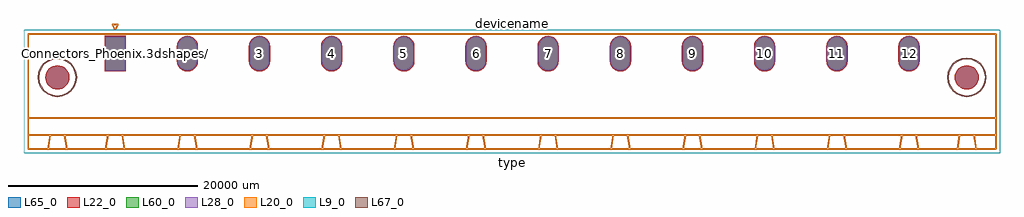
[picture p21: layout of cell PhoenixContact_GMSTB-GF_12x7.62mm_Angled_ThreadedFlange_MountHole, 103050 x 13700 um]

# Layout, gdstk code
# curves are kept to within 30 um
import gdstk
lib = gdstk.Library(unit=1e-6, precision=1e-09)
def R(c, l, rs):  # rectangles x0, y0, x1, y1
    for r in rs: c.add(gdstk.rectangle(r[:2], r[2:], *l))
def P(c, l, *ps):  # polygons
    for p in ps: c.add(gdstk.Polygon(p, *l))
L9_0 = (9, 0)
L20_0 = (20, 0)
L22_0 = (22, 0)
L28_0 = (28, 0)
L60_0 = (60, 0)
L65_0 = (65, 0)
L67_0 = (67, 0)

phoenixcontact_gmstb_gf_ = lib.new_cell('PhoenixContact_GMSTB-GF_12x7.62mm_Angled_ThreadedFlange_MountHole')
R(phoenixcontact_gmstb_gf_, L22_0, [(-1125,-1875,1125,1875)])
P(phoenixcontact_gmstb_gf_, L22_0, [(91195,-2500),(91097.946,-2012.079),(90821.561,-1598.439),(90407.921,-1322.054),(89920,-1225),(89432.079,-1322.054),(89018.439,-1598.439),(88742.054,-2012.079),(88645,-2500),(88742.054,-2987.921),(89018.439,-3401.561),(89432.079,-3677.946),(89920,-3775),(90407.921,-3677.946),(90821.561,-3401.561),(91097.946,-2987.921)],
  [(-4825,-2500),(-4922.054,-2012.079),(-5198.439,-1598.439),(-5612.079,-1322.054),(-6100,-1225),(-6587.921,-1322.054),(-7001.561,-1598.439),(-7277.946,-2012.079),(-7375,-2500),(-7277.946,-2987.921),(-7001.561,-3401.561),(-6587.921,-3677.946),(-6100,-3775),(-5612.079,-3677.946),(-5198.439,-3401.561),(-4922.054,-2987.921)],
  [(83820,-1875),(84111.171,-1836.667),(84382.5,-1724.279),(84615.495,-1545.495),(84794.279,-1312.5),(84906.667,-1041.171),(84945,-750),(84945,750),(84906.667,1041.171),(84794.279,1312.5),(84615.495,1545.495),(84382.5,1724.279),(84111.171,1836.667),(83820,1875),(83528.829,1836.667),(83257.5,1724.279),(83024.505,1545.495),(82845.721,1312.5),(82733.333,1041.171),(82695,750),(82695,-750),(82733.333,-1041.171),(82845.721,-1312.5),(83024.505,-1545.495),(83257.5,-1724.279),(83528.829,-1836.667)],
  [(76200,-1875),(76491.171,-1836.667),(76762.5,-1724.279),(76995.495,-1545.495),(77174.279,-1312.5),(77286.667,-1041.171),(77325,-750),(77325,750),(77286.667,1041.171),(77174.279,1312.5),(76995.495,1545.495),(76762.5,1724.279),(76491.171,1836.667),(76200,1875),(75908.829,1836.667),(75637.5,1724.279),(75404.505,1545.495),(75225.721,1312.5),(75113.333,1041.171),(75075,750),(75075,-750),(75113.333,-1041.171),(75225.721,-1312.5),(75404.505,-1545.495),(75637.5,-1724.279),(75908.829,-1836.667)],
  [(68580,-1875),(68871.171,-1836.667),(69142.5,-1724.279),(69375.495,-1545.495),(69554.279,-1312.5),(69666.667,-1041.171),(69705,-750),(69705,750),(69666.667,1041.171),(69554.279,1312.5),(69375.495,1545.495),(69142.5,1724.279),(68871.171,1836.667),(68580,1875),(68288.829,1836.667),(68017.5,1724.279),(67784.505,1545.495),(67605.721,1312.5),(67493.333,1041.171),(67455,750),(67455,-750),(67493.333,-1041.171),(67605.721,-1312.5),(67784.505,-1545.495),(68017.5,-1724.279),(68288.829,-1836.667)],
  [(60960,-1875),(61251.171,-1836.667),(61522.5,-1724.279),(61755.495,-1545.495),(61934.279,-1312.5),(62046.667,-1041.171),(62085,-750),(62085,750),(62046.667,1041.171),(61934.279,1312.5),(61755.495,1545.495),(61522.5,1724.279),(61251.171,1836.667),(60960,1875),(60668.829,1836.667),(60397.5,1724.279),(60164.505,1545.495),(59985.721,1312.5),(59873.333,1041.171),(59835,750),(59835,-750),(59873.333,-1041.171),(59985.721,-1312.5),(60164.505,-1545.495),(60397.5,-1724.279),(60668.829,-1836.667)],
  [(53340,-1875),(53631.171,-1836.667),(53902.5,-1724.279),(54135.495,-1545.495),(54314.279,-1312.5),(54426.667,-1041.171),(54465,-750),(54465,750),(54426.667,1041.171),(54314.279,1312.5),(54135.495,1545.495),(53902.5,1724.279),(53631.171,1836.667),(53340,1875),(53048.829,1836.667),(52777.5,1724.279),(52544.505,1545.495),(52365.721,1312.5),(52253.333,1041.171),(52215,750),(52215,-750),(52253.333,-1041.171),(52365.721,-1312.5),(52544.505,-1545.495),(52777.5,-1724.279),(53048.829,-1836.667)],
  [(45720,-1875),(46011.171,-1836.667),(46282.5,-1724.279),(46515.495,-1545.495),(46694.279,-1312.5),(46806.667,-1041.171),(46845,-750),(46845,750),(46806.667,1041.171),(46694.279,1312.5),(46515.495,1545.495),(46282.5,1724.279),(46011.171,1836.667),(45720,1875),(45428.829,1836.667),(45157.5,1724.279),(44924.505,1545.495),(44745.721,1312.5),(44633.333,1041.171),(44595,750),(44595,-750),(44633.333,-1041.171),(44745.721,-1312.5),(44924.505,-1545.495),(45157.5,-1724.279),(45428.829,-1836.667)],
  [(38100,-1875),(38391.171,-1836.667),(38662.5,-1724.279),(38895.495,-1545.495),(39074.279,-1312.5),(39186.667,-1041.171),(39225,-750),(39225,750),(39186.667,1041.171),(39074.279,1312.5),(38895.495,1545.495),(38662.5,1724.279),(38391.171,1836.667),(38100,1875),(37808.829,1836.667),(37537.5,1724.279),(37304.505,1545.495),(37125.721,1312.5),(37013.333,1041.171),(36975,750),(36975,-750),(37013.333,-1041.171),(37125.721,-1312.5),(37304.505,-1545.495),(37537.5,-1724.279),(37808.829,-1836.667)],
  [(30480,-1875),(30771.171,-1836.667),(31042.5,-1724.279),(31275.495,-1545.495),(31454.279,-1312.5),(31566.667,-1041.171),(31605,-750),(31605,750),(31566.667,1041.171),(31454.279,1312.5),(31275.495,1545.495),(31042.5,1724.279),(30771.171,1836.667),(30480,1875),(30188.829,1836.667),(29917.5,1724.279),(29684.505,1545.495),(29505.721,1312.5),(29393.333,1041.171),(29355,750),(29355,-750),(29393.333,-1041.171),(29505.721,-1312.5),(29684.505,-1545.495),(29917.5,-1724.279),(30188.829,-1836.667)],
  [(22860,-1875),(23151.171,-1836.667),(23422.5,-1724.279),(23655.495,-1545.495),(23834.279,-1312.5),(23946.667,-1041.171),(23985,-750),(23985,750),(23946.667,1041.171),(23834.279,1312.5),(23655.495,1545.495),(23422.5,1724.279),(23151.171,1836.667),(22860,1875),(22568.829,1836.667),(22297.5,1724.279),(22064.505,1545.495),(21885.721,1312.5),(21773.333,1041.171),(21735,750),(21735,-750),(21773.333,-1041.171),(21885.721,-1312.5),(22064.505,-1545.495),(22297.5,-1724.279),(22568.829,-1836.667)],
  [(15240,-1875),(15531.171,-1836.667),(15802.5,-1724.279),(16035.495,-1545.495),(16214.279,-1312.5),(16326.667,-1041.171),(16365,-750),(16365,750),(16326.667,1041.171),(16214.279,1312.5),(16035.495,1545.495),(15802.5,1724.279),(15531.171,1836.667),(15240,1875),(14948.829,1836.667),(14677.5,1724.279),(14444.505,1545.495),(14265.721,1312.5),(14153.333,1041.171),(14115,750),(14115,-750),(14153.333,-1041.171),(14265.721,-1312.5),(14444.505,-1545.495),(14677.5,-1724.279),(14948.829,-1836.667)],
  [(7620,-1875),(7911.171,-1836.667),(8182.5,-1724.279),(8415.495,-1545.495),(8594.279,-1312.5),(8706.667,-1041.171),(8745,-750),(8745,750),(8706.667,1041.171),(8594.279,1312.5),(8415.495,1545.495),(8182.5,1724.279),(7911.171,1836.667),(7620,1875),(7328.829,1836.667),(7057.5,1724.279),(6824.505,1545.495),(6645.721,1312.5),(6533.333,1041.171),(6495,750),(6495,-750),(6533.333,-1041.171),(6645.721,-1312.5),(6824.505,-1545.495),(7057.5,-1724.279),(7328.829,-1836.667)])
R(phoenixcontact_gmstb_gf_, L28_0, [(-1050,-1800,1050,1800)])
P(phoenixcontact_gmstb_gf_, L28_0, [(83820,-1800),(84091.76,-1764.222),(84345,-1659.327),(84562.462,-1492.462),(84729.327,-1275),(84834.222,-1021.76),(84870,-750),(84870,750),(84834.222,1021.76),(84729.327,1275),(84562.462,1492.462),(84345,1659.327),(84091.76,1764.222),(83820,1800),(83548.24,1764.222),(83295,1659.327),(83077.538,1492.462),(82910.673,1275),(82805.778,1021.76),(82770,750),(82770,-750),(82805.778,-1021.76),(82910.673,-1275),(83077.538,-1492.462),(83295,-1659.327),(83548.24,-1764.222)],
  [(76200,-1800),(76471.76,-1764.222),(76725,-1659.327),(76942.462,-1492.462),(77109.327,-1275),(77214.222,-1021.76),(77250,-750),(77250,750),(77214.222,1021.76),(77109.327,1275),(76942.462,1492.462),(76725,1659.327),(76471.76,1764.222),(76200,1800),(75928.24,1764.222),(75675,1659.327),(75457.538,1492.462),(75290.673,1275),(75185.778,1021.76),(75150,750),(75150,-750),(75185.778,-1021.76),(75290.673,-1275),(75457.538,-1492.462),(75675,-1659.327),(75928.24,-1764.222)],
  [(68580,-1800),(68851.76,-1764.222),(69105,-1659.327),(69322.462,-1492.462),(69489.327,-1275),(69594.222,-1021.76),(69630,-750),(69630,750),(69594.222,1021.76),(69489.327,1275),(69322.462,1492.462),(69105,1659.327),(68851.76,1764.222),(68580,1800),(68308.24,1764.222),(68055,1659.327),(67837.538,1492.462),(67670.673,1275),(67565.778,1021.76),(67530,750),(67530,-750),(67565.778,-1021.76),(67670.673,-1275),(67837.538,-1492.462),(68055,-1659.327),(68308.24,-1764.222)],
  [(60960,-1800),(61231.76,-1764.222),(61485,-1659.327),(61702.462,-1492.462),(61869.327,-1275),(61974.222,-1021.76),(62010,-750),(62010,750),(61974.222,1021.76),(61869.327,1275),(61702.462,1492.462),(61485,1659.327),(61231.76,1764.222),(60960,1800),(60688.24,1764.222),(60435,1659.327),(60217.538,1492.462),(60050.673,1275),(59945.778,1021.76),(59910,750),(59910,-750),(59945.778,-1021.76),(60050.673,-1275),(60217.538,-1492.462),(60435,-1659.327),(60688.24,-1764.222)],
  [(53340,-1800),(53611.76,-1764.222),(53865,-1659.327),(54082.462,-1492.462),(54249.327,-1275),(54354.222,-1021.76),(54390,-750),(54390,750),(54354.222,1021.76),(54249.327,1275),(54082.462,1492.462),(53865,1659.327),(53611.76,1764.222),(53340,1800),(53068.24,1764.222),(52815,1659.327),(52597.538,1492.462),(52430.673,1275),(52325.778,1021.76),(52290,750),(52290,-750),(52325.778,-1021.76),(52430.673,-1275),(52597.538,-1492.462),(52815,-1659.327),(53068.24,-1764.222)],
  [(45720,-1800),(45991.76,-1764.222),(46245,-1659.327),(46462.462,-1492.462),(46629.327,-1275),(46734.222,-1021.76),(46770,-750),(46770,750),(46734.222,1021.76),(46629.327,1275),(46462.462,1492.462),(46245,1659.327),(45991.76,1764.222),(45720,1800),(45448.24,1764.222),(45195,1659.327),(44977.538,1492.462),(44810.673,1275),(44705.778,1021.76),(44670,750),(44670,-750),(44705.778,-1021.76),(44810.673,-1275),(44977.538,-1492.462),(45195,-1659.327),(45448.24,-1764.222)],
  [(38100,-1800),(38371.76,-1764.222),(38625,-1659.327),(38842.462,-1492.462),(39009.327,-1275),(39114.222,-1021.76),(39150,-750),(39150,750),(39114.222,1021.76),(39009.327,1275),(38842.462,1492.462),(38625,1659.327),(38371.76,1764.222),(38100,1800),(37828.24,1764.222),(37575,1659.327),(37357.538,1492.462),(37190.673,1275),(37085.778,1021.76),(37050,750),(37050,-750),(37085.778,-1021.76),(37190.673,-1275),(37357.538,-1492.462),(37575,-1659.327),(37828.24,-1764.222)],
  [(30480,-1800),(30751.76,-1764.222),(31005,-1659.327),(31222.462,-1492.462),(31389.327,-1275),(31494.222,-1021.76),(31530,-750),(31530,750),(31494.222,1021.76),(31389.327,1275),(31222.462,1492.462),(31005,1659.327),(30751.76,1764.222),(30480,1800),(30208.24,1764.222),(29955,1659.327),(29737.538,1492.462),(29570.673,1275),(29465.778,1021.76),(29430,750),(29430,-750),(29465.778,-1021.76),(29570.673,-1275),(29737.538,-1492.462),(29955,-1659.327),(30208.24,-1764.222)],
  [(22860,-1800),(23131.76,-1764.222),(23385,-1659.327),(23602.462,-1492.462),(23769.327,-1275),(23874.222,-1021.76),(23910,-750),(23910,750),(23874.222,1021.76),(23769.327,1275),(23602.462,1492.462),(23385,1659.327),(23131.76,1764.222),(22860,1800),(22588.24,1764.222),(22335,1659.327),(22117.538,1492.462),(21950.673,1275),(21845.778,1021.76),(21810,750),(21810,-750),(21845.778,-1021.76),(21950.673,-1275),(22117.538,-1492.462),(22335,-1659.327),(22588.24,-1764.222)],
  [(15240,-1800),(15511.76,-1764.222),(15765,-1659.327),(15982.462,-1492.462),(16149.327,-1275),(16254.222,-1021.76),(16290,-750),(16290,750),(16254.222,1021.76),(16149.327,1275),(15982.462,1492.462),(15765,1659.327),(15511.76,1764.222),(15240,1800),(14968.24,1764.222),(14715,1659.327),(14497.538,1492.462),(14330.673,1275),(14225.778,1021.76),(14190,750),(14190,-750),(14225.778,-1021.76),(14330.673,-1275),(14497.538,-1492.462),(14715,-1659.327),(14968.24,-1764.222)],
  [(7620,-1800),(7891.76,-1764.222),(8145,-1659.327),(8362.462,-1492.462),(8529.327,-1275),(8634.222,-1021.76),(8670,-750),(8670,750),(8634.222,1021.76),(8529.327,1275),(8362.462,1492.462),(8145,1659.327),(7891.76,1764.222),(7620,1800),(7348.24,1764.222),(7095,1659.327),(6877.538,1492.462),(6710.673,1275),(6605.778,1021.76),(6570,750),(6570,-750),(6605.778,-1021.76),(6710.673,-1275),(6877.538,-1492.462),(7095,-1659.327),(7348.24,-1764.222)])
R(phoenixcontact_gmstb_gf_, L60_0, [(-1050,-1800,1050,1800)])
P(phoenixcontact_gmstb_gf_, L60_0, [(83820,-1800),(84091.76,-1764.222),(84345,-1659.327),(84562.462,-1492.462),(84729.327,-1275),(84834.222,-1021.76),(84870,-750),(84870,750),(84834.222,1021.76),(84729.327,1275),(84562.462,1492.462),(84345,1659.327),(84091.76,1764.222),(83820,1800),(83548.24,1764.222),(83295,1659.327),(83077.538,1492.462),(82910.673,1275),(82805.778,1021.76),(82770,750),(82770,-750),(82805.778,-1021.76),(82910.673,-1275),(83077.538,-1492.462),(83295,-1659.327),(83548.24,-1764.222)],
  [(76200,-1800),(76471.76,-1764.222),(76725,-1659.327),(76942.462,-1492.462),(77109.327,-1275),(77214.222,-1021.76),(77250,-750),(77250,750),(77214.222,1021.76),(77109.327,1275),(76942.462,1492.462),(76725,1659.327),(76471.76,1764.222),(76200,1800),(75928.24,1764.222),(75675,1659.327),(75457.538,1492.462),(75290.673,1275),(75185.778,1021.76),(75150,750),(75150,-750),(75185.778,-1021.76),(75290.673,-1275),(75457.538,-1492.462),(75675,-1659.327),(75928.24,-1764.222)],
  [(68580,-1800),(68851.76,-1764.222),(69105,-1659.327),(69322.462,-1492.462),(69489.327,-1275),(69594.222,-1021.76),(69630,-750),(69630,750),(69594.222,1021.76),(69489.327,1275),(69322.462,1492.462),(69105,1659.327),(68851.76,1764.222),(68580,1800),(68308.24,1764.222),(68055,1659.327),(67837.538,1492.462),(67670.673,1275),(67565.778,1021.76),(67530,750),(67530,-750),(67565.778,-1021.76),(67670.673,-1275),(67837.538,-1492.462),(68055,-1659.327),(68308.24,-1764.222)],
  [(60960,-1800),(61231.76,-1764.222),(61485,-1659.327),(61702.462,-1492.462),(61869.327,-1275),(61974.222,-1021.76),(62010,-750),(62010,750),(61974.222,1021.76),(61869.327,1275),(61702.462,1492.462),(61485,1659.327),(61231.76,1764.222),(60960,1800),(60688.24,1764.222),(60435,1659.327),(60217.538,1492.462),(60050.673,1275),(59945.778,1021.76),(59910,750),(59910,-750),(59945.778,-1021.76),(60050.673,-1275),(60217.538,-1492.462),(60435,-1659.327),(60688.24,-1764.222)],
  [(53340,-1800),(53611.76,-1764.222),(53865,-1659.327),(54082.462,-1492.462),(54249.327,-1275),(54354.222,-1021.76),(54390,-750),(54390,750),(54354.222,1021.76),(54249.327,1275),(54082.462,1492.462),(53865,1659.327),(53611.76,1764.222),(53340,1800),(53068.24,1764.222),(52815,1659.327),(52597.538,1492.462),(52430.673,1275),(52325.778,1021.76),(52290,750),(52290,-750),(52325.778,-1021.76),(52430.673,-1275),(52597.538,-1492.462),(52815,-1659.327),(53068.24,-1764.222)],
  [(45720,-1800),(45991.76,-1764.222),(46245,-1659.327),(46462.462,-1492.462),(46629.327,-1275),(46734.222,-1021.76),(46770,-750),(46770,750),(46734.222,1021.76),(46629.327,1275),(46462.462,1492.462),(46245,1659.327),(45991.76,1764.222),(45720,1800),(45448.24,1764.222),(45195,1659.327),(44977.538,1492.462),(44810.673,1275),(44705.778,1021.76),(44670,750),(44670,-750),(44705.778,-1021.76),(44810.673,-1275),(44977.538,-1492.462),(45195,-1659.327),(45448.24,-1764.222)],
  [(38100,-1800),(38371.76,-1764.222),(38625,-1659.327),(38842.462,-1492.462),(39009.327,-1275),(39114.222,-1021.76),(39150,-750),(39150,750),(39114.222,1021.76),(39009.327,1275),(38842.462,1492.462),(38625,1659.327),(38371.76,1764.222),(38100,1800),(37828.24,1764.222),(37575,1659.327),(37357.538,1492.462),(37190.673,1275),(37085.778,1021.76),(37050,750),(37050,-750),(37085.778,-1021.76),(37190.673,-1275),(37357.538,-1492.462),(37575,-1659.327),(37828.24,-1764.222)],
  [(30480,-1800),(30751.76,-1764.222),(31005,-1659.327),(31222.462,-1492.462),(31389.327,-1275),(31494.222,-1021.76),(31530,-750),(31530,750),(31494.222,1021.76),(31389.327,1275),(31222.462,1492.462),(31005,1659.327),(30751.76,1764.222),(30480,1800),(30208.24,1764.222),(29955,1659.327),(29737.538,1492.462),(29570.673,1275),(29465.778,1021.76),(29430,750),(29430,-750),(29465.778,-1021.76),(29570.673,-1275),(29737.538,-1492.462),(29955,-1659.327),(30208.24,-1764.222)],
  [(22860,-1800),(23131.76,-1764.222),(23385,-1659.327),(23602.462,-1492.462),(23769.327,-1275),(23874.222,-1021.76),(23910,-750),(23910,750),(23874.222,1021.76),(23769.327,1275),(23602.462,1492.462),(23385,1659.327),(23131.76,1764.222),(22860,1800),(22588.24,1764.222),(22335,1659.327),(22117.538,1492.462),(21950.673,1275),(21845.778,1021.76),(21810,750),(21810,-750),(21845.778,-1021.76),(21950.673,-1275),(22117.538,-1492.462),(22335,-1659.327),(22588.24,-1764.222)],
  [(15240,-1800),(15511.76,-1764.222),(15765,-1659.327),(15982.462,-1492.462),(16149.327,-1275),(16254.222,-1021.76),(16290,-750),(16290,750),(16254.222,1021.76),(16149.327,1275),(15982.462,1492.462),(15765,1659.327),(15511.76,1764.222),(15240,1800),(14968.24,1764.222),(14715,1659.327),(14497.538,1492.462),(14330.673,1275),(14225.778,1021.76),(14190,750),(14190,-750),(14225.778,-1021.76),(14330.673,-1275),(14497.538,-1492.462),(14715,-1659.327),(14968.24,-1764.222)],
  [(7620,-1800),(7891.76,-1764.222),(8145,-1659.327),(8362.462,-1492.462),(8529.327,-1275),(8634.222,-1021.76),(8670,-750),(8670,750),(8634.222,1021.76),(8529.327,1275),(8362.462,1492.462),(8145,1659.327),(7891.76,1764.222),(7620,1800),(7348.24,1764.222),(7095,1659.327),(6877.538,1492.462),(6710.673,1275),(6605.778,1021.76),(6570,750),(6570,-750),(6605.778,-1021.76),(6710.673,-1275),(6877.538,-1492.462),(7095,-1659.327),(7348.24,-1764.222)])
R(phoenixcontact_gmstb_gf_, L65_0, [(-1125,-1875,1125,1875)])
P(phoenixcontact_gmstb_gf_, L65_0, [(91195,-2500),(91097.946,-2012.079),(90821.561,-1598.439),(90407.921,-1322.054),(89920,-1225),(89432.079,-1322.054),(89018.439,-1598.439),(88742.054,-2012.079),(88645,-2500),(88742.054,-2987.921),(89018.439,-3401.561),(89432.079,-3677.946),(89920,-3775),(90407.921,-3677.946),(90821.561,-3401.561),(91097.946,-2987.921)],
  [(-4825,-2500),(-4922.054,-2012.079),(-5198.439,-1598.439),(-5612.079,-1322.054),(-6100,-1225),(-6587.921,-1322.054),(-7001.561,-1598.439),(-7277.946,-2012.079),(-7375,-2500),(-7277.946,-2987.921),(-7001.561,-3401.561),(-6587.921,-3677.946),(-6100,-3775),(-5612.079,-3677.946),(-5198.439,-3401.561),(-4922.054,-2987.921)],
  [(83820,-1875),(84111.171,-1836.667),(84382.5,-1724.279),(84615.495,-1545.495),(84794.279,-1312.5),(84906.667,-1041.171),(84945,-750),(84945,750),(84906.667,1041.171),(84794.279,1312.5),(84615.495,1545.495),(84382.5,1724.279),(84111.171,1836.667),(83820,1875),(83528.829,1836.667),(83257.5,1724.279),(83024.505,1545.495),(82845.721,1312.5),(82733.333,1041.171),(82695,750),(82695,-750),(82733.333,-1041.171),(82845.721,-1312.5),(83024.505,-1545.495),(83257.5,-1724.279),(83528.829,-1836.667)],
  [(76200,-1875),(76491.171,-1836.667),(76762.5,-1724.279),(76995.495,-1545.495),(77174.279,-1312.5),(77286.667,-1041.171),(77325,-750),(77325,750),(77286.667,1041.171),(77174.279,1312.5),(76995.495,1545.495),(76762.5,1724.279),(76491.171,1836.667),(76200,1875),(75908.829,1836.667),(75637.5,1724.279),(75404.505,1545.495),(75225.721,1312.5),(75113.333,1041.171),(75075,750),(75075,-750),(75113.333,-1041.171),(75225.721,-1312.5),(75404.505,-1545.495),(75637.5,-1724.279),(75908.829,-1836.667)],
  [(68580,-1875),(68871.171,-1836.667),(69142.5,-1724.279),(69375.495,-1545.495),(69554.279,-1312.5),(69666.667,-1041.171),(69705,-750),(69705,750),(69666.667,1041.171),(69554.279,1312.5),(69375.495,1545.495),(69142.5,1724.279),(68871.171,1836.667),(68580,1875),(68288.829,1836.667),(68017.5,1724.279),(67784.505,1545.495),(67605.721,1312.5),(67493.333,1041.171),(67455,750),(67455,-750),(67493.333,-1041.171),(67605.721,-1312.5),(67784.505,-1545.495),(68017.5,-1724.279),(68288.829,-1836.667)],
  [(60960,-1875),(61251.171,-1836.667),(61522.5,-1724.279),(61755.495,-1545.495),(61934.279,-1312.5),(62046.667,-1041.171),(62085,-750),(62085,750),(62046.667,1041.171),(61934.279,1312.5),(61755.495,1545.495),(61522.5,1724.279),(61251.171,1836.667),(60960,1875),(60668.829,1836.667),(60397.5,1724.279),(60164.505,1545.495),(59985.721,1312.5),(59873.333,1041.171),(59835,750),(59835,-750),(59873.333,-1041.171),(59985.721,-1312.5),(60164.505,-1545.495),(60397.5,-1724.279),(60668.829,-1836.667)],
  [(53340,-1875),(53631.171,-1836.667),(53902.5,-1724.279),(54135.495,-1545.495),(54314.279,-1312.5),(54426.667,-1041.171),(54465,-750),(54465,750),(54426.667,1041.171),(54314.279,1312.5),(54135.495,1545.495),(53902.5,1724.279),(53631.171,1836.667),(53340,1875),(53048.829,1836.667),(52777.5,1724.279),(52544.505,1545.495),(52365.721,1312.5),(52253.333,1041.171),(52215,750),(52215,-750),(52253.333,-1041.171),(52365.721,-1312.5),(52544.505,-1545.495),(52777.5,-1724.279),(53048.829,-1836.667)],
  [(45720,-1875),(46011.171,-1836.667),(46282.5,-1724.279),(46515.495,-1545.495),(46694.279,-1312.5),(46806.667,-1041.171),(46845,-750),(46845,750),(46806.667,1041.171),(46694.279,1312.5),(46515.495,1545.495),(46282.5,1724.279),(46011.171,1836.667),(45720,1875),(45428.829,1836.667),(45157.5,1724.279),(44924.505,1545.495),(44745.721,1312.5),(44633.333,1041.171),(44595,750),(44595,-750),(44633.333,-1041.171),(44745.721,-1312.5),(44924.505,-1545.495),(45157.5,-1724.279),(45428.829,-1836.667)],
  [(38100,-1875),(38391.171,-1836.667),(38662.5,-1724.279),(38895.495,-1545.495),(39074.279,-1312.5),(39186.667,-1041.171),(39225,-750),(39225,750),(39186.667,1041.171),(39074.279,1312.5),(38895.495,1545.495),(38662.5,1724.279),(38391.171,1836.667),(38100,1875),(37808.829,1836.667),(37537.5,1724.279),(37304.505,1545.495),(37125.721,1312.5),(37013.333,1041.171),(36975,750),(36975,-750),(37013.333,-1041.171),(37125.721,-1312.5),(37304.505,-1545.495),(37537.5,-1724.279),(37808.829,-1836.667)],
  [(30480,-1875),(30771.171,-1836.667),(31042.5,-1724.279),(31275.495,-1545.495),(31454.279,-1312.5),(31566.667,-1041.171),(31605,-750),(31605,750),(31566.667,1041.171),(31454.279,1312.5),(31275.495,1545.495),(31042.5,1724.279),(30771.171,1836.667),(30480,1875),(30188.829,1836.667),(29917.5,1724.279),(29684.505,1545.495),(29505.721,1312.5),(29393.333,1041.171),(29355,750),(29355,-750),(29393.333,-1041.171),(29505.721,-1312.5),(29684.505,-1545.495),(29917.5,-1724.279),(30188.829,-1836.667)],
  [(22860,-1875),(23151.171,-1836.667),(23422.5,-1724.279),(23655.495,-1545.495),(23834.279,-1312.5),(23946.667,-1041.171),(23985,-750),(23985,750),(23946.667,1041.171),(23834.279,1312.5),(23655.495,1545.495),(23422.5,1724.279),(23151.171,1836.667),(22860,1875),(22568.829,1836.667),(22297.5,1724.279),(22064.505,1545.495),(21885.721,1312.5),(21773.333,1041.171),(21735,750),(21735,-750),(21773.333,-1041.171),(21885.721,-1312.5),(22064.505,-1545.495),(22297.5,-1724.279),(22568.829,-1836.667)],
  [(15240,-1875),(15531.171,-1836.667),(15802.5,-1724.279),(16035.495,-1545.495),(16214.279,-1312.5),(16326.667,-1041.171),(16365,-750),(16365,750),(16326.667,1041.171),(16214.279,1312.5),(16035.495,1545.495),(15802.5,1724.279),(15531.171,1836.667),(15240,1875),(14948.829,1836.667),(14677.5,1724.279),(14444.505,1545.495),(14265.721,1312.5),(14153.333,1041.171),(14115,750),(14115,-750),(14153.333,-1041.171),(14265.721,-1312.5),(14444.505,-1545.495),(14677.5,-1724.279),(14948.829,-1836.667)],
  [(7620,-1875),(7911.171,-1836.667),(8182.5,-1724.279),(8415.495,-1545.495),(8594.279,-1312.5),(8706.667,-1041.171),(8745,-750),(8745,750),(8706.667,1041.171),(8594.279,1312.5),(8415.495,1545.495),(8182.5,1724.279),(7911.171,1836.667),(7620,1875),(7328.829,1836.667),(7057.5,1724.279),(6824.505,1545.495),(6645.721,1312.5),(6533.333,1041.171),(6495,750),(6495,-750),(6533.333,-1041.171),(6645.721,-1312.5),(6824.505,-1545.495),(7057.5,-1724.279),(7328.829,-1836.667)])
phoenixcontact_gmstb_gf_.add(gdstk.FlexPath([(-300,3100),(0,2500)], 149.998, ends="flush", simple_path=True, layer=20, datatype=0))  # L20_0
phoenixcontact_gmstb_gf_.add(gdstk.FlexPath([(300,3100),(-300,3100)], 149.998, ends="flush", simple_path=True, layer=20, datatype=0))  # L20_0
phoenixcontact_gmstb_gf_.add(gdstk.FlexPath([(0,2500),(300,3100)], 149.998, ends="flush", simple_path=True, layer=20, datatype=0))  # L20_0
phoenixcontact_gmstb_gf_.add(gdstk.FlexPath([(93400,2500),(-9600,2500)], 50, ends="flush", simple_path=True, layer=9, datatype=0))  # L9_0
phoenixcontact_gmstb_gf_.add(gdstk.FlexPath([(93400,-10500),(93400,2500)], 50, ends="flush", simple_path=True, layer=9, datatype=0))  # L9_0
phoenixcontact_gmstb_gf_.add(gdstk.FlexPath([(-9600,-10500),(93400,-10500)], 50, ends="flush", simple_path=True, layer=9, datatype=0))  # L9_0
phoenixcontact_gmstb_gf_.add(gdstk.FlexPath([(-9600,2500),(-9600,-10500)], 50, ends="flush", simple_path=True, layer=9, datatype=0))  # L9_0
phoenixcontact_gmstb_gf_.add(gdstk.FlexPath([(83070,-8580),(82820,-10080)], 149.998, ends="flush", simple_path=True, layer=20, datatype=0))  # L20_0
phoenixcontact_gmstb_gf_.add(gdstk.FlexPath([(84570,-8580),(83070,-8580)], 149.998, ends="flush", simple_path=True, layer=20, datatype=0))  # L20_0
phoenixcontact_gmstb_gf_.add(gdstk.FlexPath([(84820,-10080),(84570,-8580)], 149.998, ends="flush", simple_path=True, layer=20, datatype=0))  # L20_0
phoenixcontact_gmstb_gf_.add(gdstk.FlexPath([(82820,-10080),(84820,-10080)], 149.998, ends="flush", simple_path=True, layer=20, datatype=0))  # L20_0
phoenixcontact_gmstb_gf_.add(gdstk.FlexPath([(75450,-8580),(75200,-10080)], 149.998, ends="flush", simple_path=True, layer=20, datatype=0))  # L20_0
phoenixcontact_gmstb_gf_.add(gdstk.FlexPath([(76950,-8580),(75450,-8580)], 149.998, ends="flush", simple_path=True, layer=20, datatype=0))  # L20_0
phoenixcontact_gmstb_gf_.add(gdstk.FlexPath([(77200,-10080),(76950,-8580)], 149.998, ends="flush", simple_path=True, layer=20, datatype=0))  # L20_0
phoenixcontact_gmstb_gf_.add(gdstk.FlexPath([(75200,-10080),(77200,-10080)], 149.998, ends="flush", simple_path=True, layer=20, datatype=0))  # L20_0
phoenixcontact_gmstb_gf_.add(gdstk.FlexPath([(67830,-8580),(67580,-10080)], 149.998, ends="flush", simple_path=True, layer=20, datatype=0))  # L20_0
phoenixcontact_gmstb_gf_.add(gdstk.FlexPath([(69330,-8580),(67830,-8580)], 149.998, ends="flush", simple_path=True, layer=20, datatype=0))  # L20_0
phoenixcontact_gmstb_gf_.add(gdstk.FlexPath([(69580,-10080),(69330,-8580)], 149.998, ends="flush", simple_path=True, layer=20, datatype=0))  # L20_0
phoenixcontact_gmstb_gf_.add(gdstk.FlexPath([(67580,-10080),(69580,-10080)], 149.998, ends="flush", simple_path=True, layer=20, datatype=0))  # L20_0
phoenixcontact_gmstb_gf_.add(gdstk.FlexPath([(60210,-8580),(59960,-10080)], 149.998, ends="flush", simple_path=True, layer=20, datatype=0))  # L20_0
phoenixcontact_gmstb_gf_.add(gdstk.FlexPath([(61710,-8580),(60210,-8580)], 149.998, ends="flush", simple_path=True, layer=20, datatype=0))  # L20_0
phoenixcontact_gmstb_gf_.add(gdstk.FlexPath([(61960,-10080),(61710,-8580)], 149.998, ends="flush", simple_path=True, layer=20, datatype=0))  # L20_0
phoenixcontact_gmstb_gf_.add(gdstk.FlexPath([(59960,-10080),(61960,-10080)], 149.998, ends="flush", simple_path=True, layer=20, datatype=0))  # L20_0
phoenixcontact_gmstb_gf_.add(gdstk.FlexPath([(52590,-8580),(52340,-10080)], 149.998, ends="flush", simple_path=True, layer=20, datatype=0))  # L20_0
phoenixcontact_gmstb_gf_.add(gdstk.FlexPath([(54090,-8580),(52590,-8580)], 149.998, ends="flush", simple_path=True, layer=20, datatype=0))  # L20_0
phoenixcontact_gmstb_gf_.add(gdstk.FlexPath([(54340,-10080),(54090,-8580)], 149.998, ends="flush", simple_path=True, layer=20, datatype=0))  # L20_0
phoenixcontact_gmstb_gf_.add(gdstk.FlexPath([(52340,-10080),(54340,-10080)], 149.998, ends="flush", simple_path=True, layer=20, datatype=0))  # L20_0
phoenixcontact_gmstb_gf_.add(gdstk.FlexPath([(44970,-8580),(44720,-10080)], 149.998, ends="flush", simple_path=True, layer=20, datatype=0))  # L20_0
phoenixcontact_gmstb_gf_.add(gdstk.FlexPath([(46470,-8580),(44970,-8580)], 149.998, ends="flush", simple_path=True, layer=20, datatype=0))  # L20_0
phoenixcontact_gmstb_gf_.add(gdstk.FlexPath([(46720,-10080),(46470,-8580)], 149.998, ends="flush", simple_path=True, layer=20, datatype=0))  # L20_0
phoenixcontact_gmstb_gf_.add(gdstk.FlexPath([(44720,-10080),(46720,-10080)], 149.998, ends="flush", simple_path=True, layer=20, datatype=0))  # L20_0
phoenixcontact_gmstb_gf_.add(gdstk.FlexPath([(37350,-8580),(37100,-10080)], 149.998, ends="flush", simple_path=True, layer=20, datatype=0))  # L20_0
phoenixcontact_gmstb_gf_.add(gdstk.FlexPath([(38850,-8580),(37350,-8580)], 149.998, ends="flush", simple_path=True, layer=20, datatype=0))  # L20_0
phoenixcontact_gmstb_gf_.add(gdstk.FlexPath([(39100,-10080),(38850,-8580)], 149.998, ends="flush", simple_path=True, layer=20, datatype=0))  # L20_0
phoenixcontact_gmstb_gf_.add(gdstk.FlexPath([(37100,-10080),(39100,-10080)], 149.998, ends="flush", simple_path=True, layer=20, datatype=0))  # L20_0
phoenixcontact_gmstb_gf_.add(gdstk.FlexPath([(29730,-8580),(29480,-10080)], 149.998, ends="flush", simple_path=True, layer=20, datatype=0))  # L20_0
phoenixcontact_gmstb_gf_.add(gdstk.FlexPath([(31230,-8580),(29730,-8580)], 149.998, ends="flush", simple_path=True, layer=20, datatype=0))  # L20_0
phoenixcontact_gmstb_gf_.add(gdstk.FlexPath([(31480,-10080),(31230,-8580)], 149.998, ends="flush", simple_path=True, layer=20, datatype=0))  # L20_0
phoenixcontact_gmstb_gf_.add(gdstk.FlexPath([(29480,-10080),(31480,-10080)], 149.998, ends="flush", simple_path=True, layer=20, datatype=0))  # L20_0
phoenixcontact_gmstb_gf_.add(gdstk.FlexPath([(22110,-8580),(21860,-10080)], 149.998, ends="flush", simple_path=True, layer=20, datatype=0))  # L20_0
phoenixcontact_gmstb_gf_.add(gdstk.FlexPath([(23610,-8580),(22110,-8580)], 149.998, ends="flush", simple_path=True, layer=20, datatype=0))  # L20_0
phoenixcontact_gmstb_gf_.add(gdstk.FlexPath([(23860,-10080),(23610,-8580)], 149.998, ends="flush", simple_path=True, layer=20, datatype=0))  # L20_0
phoenixcontact_gmstb_gf_.add(gdstk.FlexPath([(21860,-10080),(23860,-10080)], 149.998, ends="flush", simple_path=True, layer=20, datatype=0))  # L20_0
phoenixcontact_gmstb_gf_.add(gdstk.FlexPath([(14490,-8580),(14240,-10080)], 149.998, ends="flush", simple_path=True, layer=20, datatype=0))  # L20_0
phoenixcontact_gmstb_gf_.add(gdstk.FlexPath([(15990,-8580),(14490,-8580)], 149.998, ends="flush", simple_path=True, layer=20, datatype=0))  # L20_0
phoenixcontact_gmstb_gf_.add(gdstk.FlexPath([(16240,-10080),(15990,-8580)], 149.998, ends="flush", simple_path=True, layer=20, datatype=0))  # L20_0
phoenixcontact_gmstb_gf_.add(gdstk.FlexPath([(14240,-10080),(16240,-10080)], 149.998, ends="flush", simple_path=True, layer=20, datatype=0))  # L20_0
phoenixcontact_gmstb_gf_.add(gdstk.FlexPath([(6870,-8580),(6620,-10080)], 149.998, ends="flush", simple_path=True, layer=20, datatype=0))  # L20_0
phoenixcontact_gmstb_gf_.add(gdstk.FlexPath([(8370,-8580),(6870,-8580)], 149.998, ends="flush", simple_path=True, layer=20, datatype=0))  # L20_0
phoenixcontact_gmstb_gf_.add(gdstk.FlexPath([(8620,-10080),(8370,-8580)], 149.998, ends="flush", simple_path=True, layer=20, datatype=0))  # L20_0
phoenixcontact_gmstb_gf_.add(gdstk.FlexPath([(6620,-10080),(8620,-10080)], 149.998, ends="flush", simple_path=True, layer=20, datatype=0))  # L20_0
phoenixcontact_gmstb_gf_.add(gdstk.FlexPath([(-750,-8580),(-1000,-10080)], 149.998, ends="flush", simple_path=True, layer=20, datatype=0))  # L20_0
phoenixcontact_gmstb_gf_.add(gdstk.FlexPath([(750,-8580),(-750,-8580)], 149.998, ends="flush", simple_path=True, layer=20, datatype=0))  # L20_0
phoenixcontact_gmstb_gf_.add(gdstk.FlexPath([(1000,-10080),(750,-8580)], 149.998, ends="flush", simple_path=True, layer=20, datatype=0))  # L20_0
phoenixcontact_gmstb_gf_.add(gdstk.FlexPath([(-1000,-10080),(1000,-10080)], 149.998, ends="flush", simple_path=True, layer=20, datatype=0))  # L20_0
phoenixcontact_gmstb_gf_.add(gdstk.FlexPath([(89170,-8580),(88920,-10080)], 149.998, ends="flush", simple_path=True, layer=20, datatype=0))  # L20_0
phoenixcontact_gmstb_gf_.add(gdstk.FlexPath([(90670,-8580),(89170,-8580)], 149.998, ends="flush", simple_path=True, layer=20, datatype=0))  # L20_0
phoenixcontact_gmstb_gf_.add(gdstk.FlexPath([(90920,-10080),(90670,-8580)], 149.998, ends="flush", simple_path=True, layer=20, datatype=0))  # L20_0
phoenixcontact_gmstb_gf_.add(gdstk.FlexPath([(88920,-10080),(90920,-10080)], 149.998, ends="flush", simple_path=True, layer=20, datatype=0))  # L20_0
phoenixcontact_gmstb_gf_.add(gdstk.FlexPath([(-6850,-8580),(-7100,-10080)], 149.998, ends="flush", simple_path=True, layer=20, datatype=0))  # L20_0
phoenixcontact_gmstb_gf_.add(gdstk.FlexPath([(-5350,-8580),(-6850,-8580)], 149.998, ends="flush", simple_path=True, layer=20, datatype=0))  # L20_0
phoenixcontact_gmstb_gf_.add(gdstk.FlexPath([(-5100,-10080),(-5350,-8580)], 149.998, ends="flush", simple_path=True, layer=20, datatype=0))  # L20_0
phoenixcontact_gmstb_gf_.add(gdstk.FlexPath([(-7100,-10080),(-5100,-10080)], 149.998, ends="flush", simple_path=True, layer=20, datatype=0))  # L20_0
phoenixcontact_gmstb_gf_.add(gdstk.FlexPath([(93000,-8580),(-9180,-8580)], 149.998, ends="flush", simple_path=True, layer=20, datatype=0))  # L20_0
phoenixcontact_gmstb_gf_.add(gdstk.FlexPath([(93000,-6780),(93000,-8580)], 149.998, ends="flush", simple_path=True, layer=20, datatype=0))  # L20_0
phoenixcontact_gmstb_gf_.add(gdstk.FlexPath([(-9180,-6780),(93000,-6780)], 149.998, ends="flush", simple_path=True, layer=20, datatype=0))  # L20_0
phoenixcontact_gmstb_gf_.add(gdstk.FlexPath([(-9180,-8580),(-9180,-6780)], 149.998, ends="flush", simple_path=True, layer=20, datatype=0))  # L20_0
phoenixcontact_gmstb_gf_.add(gdstk.FlexPath([(93000,2080),(-9180,2080)], 149.998, ends="flush", simple_path=True, layer=20, datatype=0))  # L20_0
phoenixcontact_gmstb_gf_.add(gdstk.FlexPath([(93000,-10080),(93000,2080)], 149.998, ends="flush", simple_path=True, layer=20, datatype=0))  # L20_0
phoenixcontact_gmstb_gf_.add(gdstk.FlexPath([(-9180,-10080),(93000,-10080)], 149.998, ends="flush", simple_path=True, layer=20, datatype=0))  # L20_0
phoenixcontact_gmstb_gf_.add(gdstk.FlexPath([(-9180,2080),(-9180,-10080)], 149.998, ends="flush", simple_path=True, layer=20, datatype=0))  # L20_0
phoenixcontact_gmstb_gf_.add(gdstk.FlexPath([(91920,-2500),(91851.852,-1982.362),(91652.051,-1500),(91334.214,-1085.786),(90920,-767.949),(90437.638,-568.148),(89920,-500),(89402.362,-568.148),(88920,-767.949),(88505.786,-1085.786),(88187.949,-1500),(87988.148,-1982.362),(87920,-2500),(87988.148,-3017.638),(88187.949,-3500),(88505.786,-3914.214),(88920,-4232.051),(89402.362,-4431.852),(89920,-4500),(90437.638,-4431.852),(90920,-4232.051),(91334.214,-3914.214),(91652.051,-3500),(91851.852,-3017.638),(91920,-2500)], 149.998, ends="flush", simple_path=True, layer=67, datatype=0))  # L67_0
phoenixcontact_gmstb_gf_.add(gdstk.FlexPath([(-4100,-2500),(-4168.148,-1982.362),(-4367.949,-1500),(-4685.786,-1085.786),(-5100,-767.949),(-5582.362,-568.148),(-6100,-500),(-6617.638,-568.148),(-7100,-767.949),(-7514.214,-1085.786),(-7832.051,-1500),(-8031.852,-1982.362),(-8100,-2500),(-8031.852,-3017.638),(-7832.051,-3500),(-7514.214,-3914.214),(-7100,-4232.051),(-6617.638,-4431.852),(-6100,-4500),(-5582.362,-4431.852),(-5100,-4232.051),(-4685.786,-3914.214),(-4367.949,-3500),(-4168.148,-3017.638),(-4100,-2500)], 149.998, ends="flush", simple_path=True, layer=67, datatype=0))  # L67_0
phoenixcontact_gmstb_gf_.add(gdstk.Label('Connectors_Phoenix.3dshapes/PhoenixContact_GMSTB-GF_12x7.62mm_Angled_ThreadedFlange_MountHole.wrl', (0,0), layer=12, texttype=0))
phoenixcontact_gmstb_gf_.add(gdstk.Label('12', (83820,0), layer=28, texttype=0))
phoenixcontact_gmstb_gf_.add(gdstk.Label('11', (76200,0), layer=28, texttype=0))
phoenixcontact_gmstb_gf_.add(gdstk.Label('10', (68580,0), layer=28, texttype=0))
phoenixcontact_gmstb_gf_.add(gdstk.Label('9', (60960,0), layer=28, texttype=0))
phoenixcontact_gmstb_gf_.add(gdstk.Label('8', (53340,0), layer=28, texttype=0))
phoenixcontact_gmstb_gf_.add(gdstk.Label('7', (45720,0), layer=28, texttype=0))
phoenixcontact_gmstb_gf_.add(gdstk.Label('6', (38100,0), layer=28, texttype=0))
phoenixcontact_gmstb_gf_.add(gdstk.Label('5', (30480,0), layer=28, texttype=0))
phoenixcontact_gmstb_gf_.add(gdstk.Label('4', (22860,0), layer=28, texttype=0))
phoenixcontact_gmstb_gf_.add(gdstk.Label('3', (15240,0), layer=28, texttype=0))
phoenixcontact_gmstb_gf_.add(gdstk.Label('2', (7620,0), layer=28, texttype=0))
phoenixcontact_gmstb_gf_.add(gdstk.Label('1', (0,0), layer=28, texttype=0))
phoenixcontact_gmstb_gf_.add(gdstk.Label('type', (41910,-11500), layer=9, texttype=0))
phoenixcontact_gmstb_gf_.add(gdstk.Label('devicename', (41910,3200), layer=9, texttype=0))

lib.write_gds('PhoenixContact_GMSTB-GF_12x7.62mm_Angled_ThreadedFlange_MountHole.gds')
